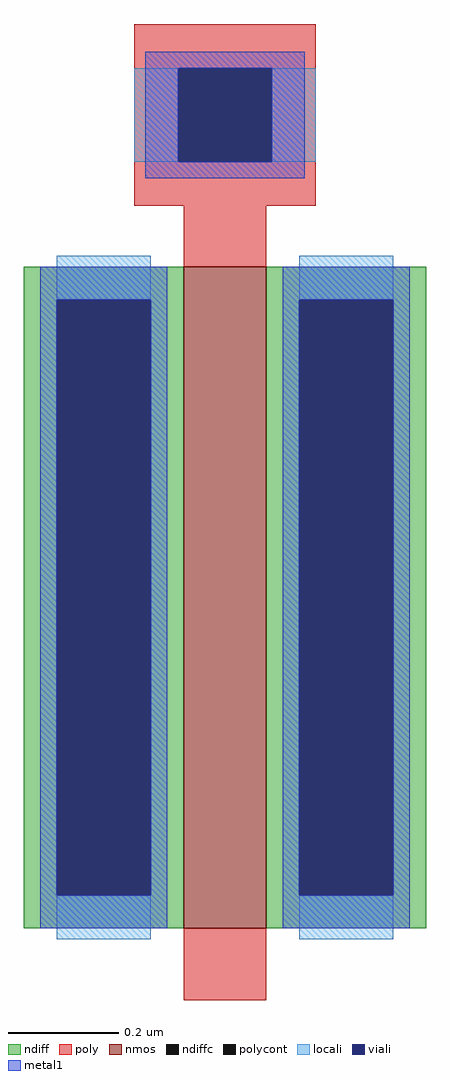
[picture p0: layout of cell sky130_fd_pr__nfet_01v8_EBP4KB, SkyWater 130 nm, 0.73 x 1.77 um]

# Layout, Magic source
magic
tech sky130A
magscale 1 2
<< nmos >>
rect -15 -151 15 89
<< ndiff >>
rect -73 77 -15 89
rect -73 -139 -61 77
rect -27 -139 -15 77
rect -73 -151 -15 -139
rect 15 77 73 89
rect 15 -139 27 77
rect 61 -139 73 77
rect 15 -151 73 -139
<< ndiffc >>
rect -61 -139 -27 77
rect 27 -139 61 77
<< poly >>
rect -33 161 33 177
rect -33 127 -17 161
rect 17 127 33 161
rect -33 111 33 127
rect -15 89 15 111
rect -15 -177 15 -151
<< polycont >>
rect -17 127 17 161
<< locali >>
rect -33 127 -17 161
rect 17 127 33 161
rect -61 77 -27 93
rect -61 -155 -27 -139
rect 27 77 61 93
rect 27 -155 61 -139
<< viali >>
rect -17 127 17 161
rect -61 -139 -27 77
rect 27 -139 61 77
<< metal1 >>
rect -29 161 29 167
rect -29 127 -17 161
rect 17 127 29 161
rect -29 121 29 127
rect -67 77 -21 89
rect -67 -139 -61 77
rect -27 -139 -21 77
rect -67 -151 -21 -139
rect 21 77 67 89
rect 21 -139 27 77
rect 61 -139 67 77
rect 21 -151 67 -139
<< properties >>
string gencell sky130_fd_pr__nfet_01v8
string library sky130
string parameters w 1.2 l 0.150 m 1 nf 1 diffcov 100 polycov 100 guard 0 glc 1 grc 1 gtc 1 gbc 1 tbcov 100 rlcov 100 topc 1 botc 0 poverlap 0 doverlap 1 lmin 0.15 wmin 0.42 compatible {sky130_fd_pr__nfet_01v8 sky130_fd_pr__nfet_01v8_lvt  sky130_fd_bs_flash__special_sonosfet_star  sky130_fd_pr__nfet_g5v0d10v5 sky130_fd_pr__nfet_05v0_nvt  sky130_fd_pr__nfet_03v3_nvt} full_metal 1 viasrc 100 viadrn 100 viagate 100 viagb 0 viagr 0 viagl 0 viagt 0
<< end >>
